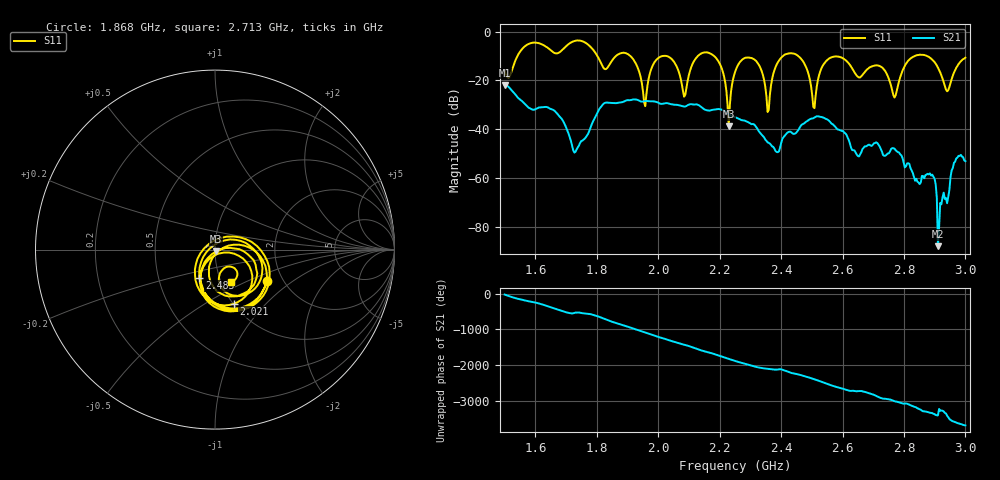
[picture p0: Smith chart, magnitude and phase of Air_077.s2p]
# HZ S RI R 50
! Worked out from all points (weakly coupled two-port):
!   404 points, 1.5 GHz to 3 GHz, reference 50 ohm
!   highest |S21| = -21.82 dB at 1.5 GHz (marker M1); lowest = -87.9 dB at 2.911 GHz (marker M2)
!   lowest |S11| = -38.8 dB at 2.23 GHz (marker M3), VSWR 1.02, Z = 50.6 - j1 ohm
!   |S11| at or under -10 dB: 2.182 GHz to 2.406 GHz (224.1 MHz wide, 9.77 % of centre); 2.456 GHz to 2.835 GHz (378.7 MHz wide, 14.3 % of centre); 2.875 GHz to end of sweep (the widest 3 of 7)
!   S12 and S22 are empty: the file has one direction only
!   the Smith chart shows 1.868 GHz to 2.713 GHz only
!   S11 on the Smith chart (normalised r, x): 1.868 GHz: 1.66, -0.65; 2.021 GHz: 1.00, -0.68; 2.483 GHz: 0.80, -0.26; 2.713 GHz: 1.12, -0.42
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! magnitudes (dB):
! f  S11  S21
! 1.5 GHz  -16.1  -21.8
! 1.753 GHz  -3.9  -44.7
! 1.868 GHz  -9.4  -29.2
! 1.958 GHz  -30.5  -28.4
! 2.002 GHz  -10.6  -29.3
! 2.021 GHz  -9.9  -29.4
! 2.084 GHz  -26.6  -30.7
! 2.177 GHz  -9.5  -32.0
! 2.23 GHz  -38.8  -33.7
! 2.252 GHz  -15.9  -35.1
! 2.315 GHz  -11.6  -38.4
! 2.356 GHz  -32.9  -45.3
! 2.386 GHz  -13.4  -49.3
! 2.483 GHz  -14.9  -36.8
! 2.501 GHz  -26.0  -35.6
! 2.561 GHz  -10.7  -37.1
! 2.713 GHz  -13.8  -45.7
! 2.751 GHz  -19.3  -49.9
! 2.892 GHz  -11.5  -58.6
! 2.911 GHz  -14.7  -87.9
! 2.94 GHz  -24.4  -70.3
! 3 GHz  -10.7  -53.1
